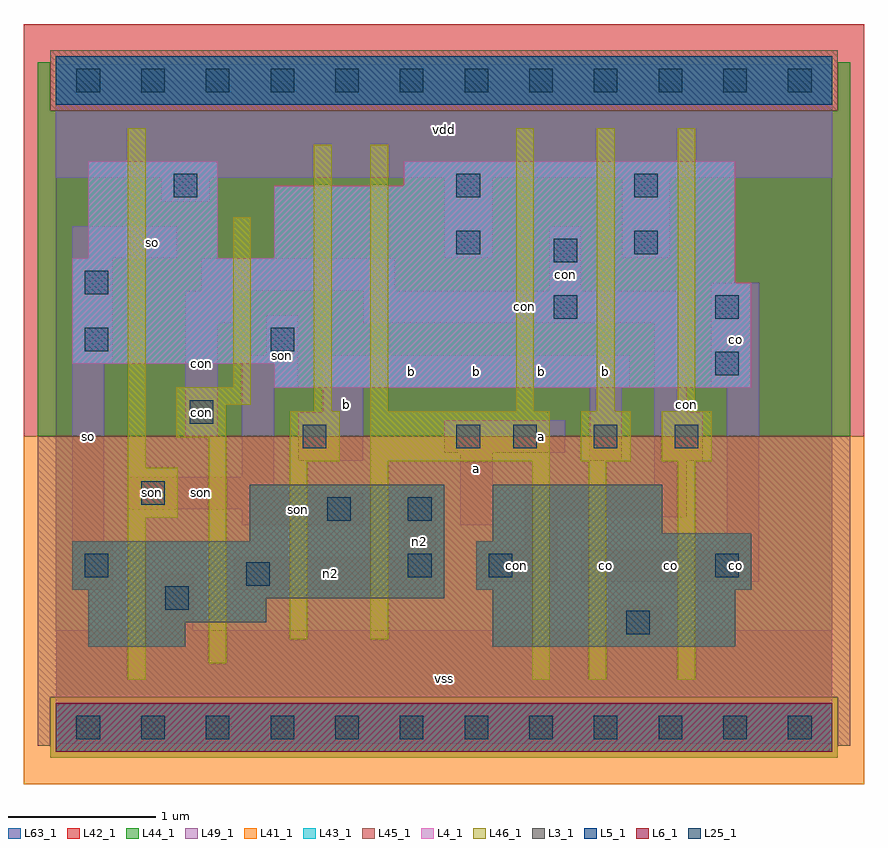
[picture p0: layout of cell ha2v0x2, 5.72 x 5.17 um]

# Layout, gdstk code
import gdstk
lib = gdstk.Library(unit=1e-6, precision=1e-09)
def R(c, l, rs):  # rectangles x0, y0, x1, y1
    for r in rs: c.add(gdstk.rectangle(r[:2], r[2:], *l))
def A(c, l, x, y, w, h, nx, ny, dx, dy):  # array of equal rectangles
    R(c, l, [(x+i*dx, y+j*dy, x+i*dx+w, y+j*dy+h) for i in range(nx) for j in range(ny)])
L3_1 = (3, 1)
L4_1 = (4, 1)
L5_1 = (5, 1)
L6_1 = (6, 1)
L25_1 = (25, 1)
L41_1 = (41, 1)
L42_1 = (42, 1)
L43_1 = (43, 1)
L44_1 = (44, 1)
L45_1 = (45, 1)
L46_1 = (46, 1)
L49_1 = (49, 1)
L63_1 = (63, 1)

ha2v0x2 = lib.new_cell('ha2v0x2')
R(ha2v0x2, L3_1, [(0.22,0.55,0.88,0.715), (2.97,0.55,4.62,0.935), (0.22,0.715,1.43,0.88), (0.22,0.88,2.64,0.935), (0.11,0.935,2.64,1.265), (2.86,0.935,4.73,1.265), (1.32,1.265,2.64,1.65), (2.97,1.265,4.73,1.32), (2.97,1.32,4.125,1.65)])
R(ha2v0x2, L4_1, [(1.485,2.31,4.73,2.475), (0.11,2.475,4.73,3.025), (0.11,3.025,4.62,3.19), (0.22,3.19,1.1,3.85), (1.485,3.19,4.62,3.685), (2.365,3.685,4.62,3.85)])
R(ha2v0x2, L5_1, [(0,4.235,5.28,4.565)])
R(ha2v0x2, L6_1, [(0,-0.165,5.28,0.165)])
A(ha2v0x2, L25_1, 0.14, -0.08, 0.16, 0.16, 12, 2, 0.44, 4.4)
A(ha2v0x2, L25_1, 3.11, 1.9, 0.16, 0.16, 3, 1, 0.55, 0)
R(ha2v0x2, L25_1, [(3.88,0.635,4.04,0.795), (0.745,0.8,0.905,0.96), (1.295,0.965,1.455,1.125), (0.195,1.02,0.355,1.18), (2.395,1.02,2.555,1.18), (2.945,1.02,3.105,1.18), (4.485,1.02,4.645,1.18), (1.845,1.405,2.005,1.565), (2.395,1.405,2.555,1.565), (0.58,1.515,0.74,1.675), (1.68,1.9,1.84,2.06), (2.725,1.9,2.885,2.06), (0.91,2.065,1.07,2.225), (4.485,2.395,4.645,2.555), (0.195,2.56,0.355,2.72), (1.46,2.56,1.62,2.72), (3.385,2.78,3.545,2.94), (4.485,2.78,4.645,2.94), (0.195,2.945,0.355,3.105), (3.385,3.165,3.545,3.325), (2.725,3.22,2.885,3.38), (3.935,3.22,4.095,3.38), (0.8,3.605,0.96,3.765), (2.725,3.605,2.885,3.765), (3.935,3.605,4.095,3.765)])
R(ha2v0x2, L41_1, [(-0.22,-0.385,5.5,1.98)])
R(ha2v0x2, L42_1, [(-0.22,1.98,5.5,4.785)])
R(ha2v0x2, L43_1, [(0,-0.165,5.28,0.165), (0.22,0.55,0.88,0.715), (2.97,0.55,4.62,0.935), (0.22,0.715,1.43,0.88), (0.22,0.88,2.64,0.935), (0.11,0.935,2.64,1.265), (2.86,0.935,4.73,1.265), (1.32,1.265,2.64,1.65), (2.97,1.265,4.73,1.32), (2.97,1.32,4.125,1.65), (1.485,2.31,4.73,2.475), (0.11,2.475,4.73,3.025), (0.11,3.025,4.62,3.19), (0.22,3.19,1.1,3.85), (1.485,3.19,4.62,3.685), (2.365,3.685,4.62,3.85), (0,4.235,5.28,4.565)])
R(ha2v0x2, L44_1, [(-0.04,-0.205,5.32,0.205), (-0.125,1.98,5.405,4.195), (-0.125,4.195,-0.04,4.525), (5.32,4.195,5.405,4.525)])
R(ha2v0x2, L45_1, [(-0.125,-0.125,-0.04,0.205), (5.32,-0.125,5.405,0.205), (-0.125,0.205,5.405,1.98), (-0.04,4.195,5.32,4.605)])
A(ha2v0x2, L46_1, 3.13, 2.15, 0.12, 1.925, 3, 1, 0.55, 0)
R(ha2v0x2, L46_1, [(0.49,0.325,0.61,1.425), (3.24,0.325,3.36,1.81), (3.625,0.325,3.745,1.81), (4.23,0.325,4.35,1.81), (1.04,0.435,1.16,1.975), (1.59,0.6,1.71,1.81), (2.14,0.6,2.26,1.81), (0.49,1.425,0.83,1.765), (0.49,1.765,0.61,4.075), (1.59,1.81,1.93,2.15), (2.14,1.81,3.36,2.15), (3.57,1.81,3.91,2.15), (4.12,1.81,4.46,2.15), (0.82,1.975,1.16,2.195), (1.755,2.15,1.875,3.965), (2.14,2.15,2.26,3.965), (0.82,2.195,1.325,2.315), (1.205,2.315,1.325,3.47)])
R(ha2v0x2, L49_1, [(0,-0.11,5.28,0.66), (0.715,0.66,0.935,1.045), (3.795,0.66,4.125,0.825), (0.11,0.935,0.385,1.265), (1.21,0.935,2.585,1.155), (2.86,0.99,3.41,1.21), (3.575,0.99,4.785,1.21), (2.365,1.155,2.585,1.65), (3.19,1.21,3.41,1.43), (4.565,1.21,4.785,2.31), (0.11,1.265,0.33,2.475), (1.265,1.375,2.09,1.485), (2.75,1.375,2.97,1.87), (3.19,1.43,4.29,1.65), (0.495,1.485,2.09,1.595), (0.495,1.595,1.485,1.705), (4.07,1.65,4.29,1.815), (1.265,1.705,1.485,2.31), (1.65,1.815,2.09,2.145), (3.63,1.815,3.85,2.31), (4.07,1.815,4.4,2.145), (2.64,1.87,3.465,2.09), (0.88,1.98,1.1,2.75), (1.815,2.145,2.09,2.31), (4.07,2.145,4.29,2.75), (1.265,2.31,1.65,2.53), (1.815,2.31,3.905,2.53), (4.455,2.31,4.785,3.025), (0.11,2.475,0.385,3.19), (1.43,2.53,1.65,2.805), (0.88,2.75,1.21,2.97), (2.09,2.75,4.29,2.97), (0.99,2.97,2.31,3.19), (3.355,2.97,3.575,3.41), (0.11,3.19,0.825,3.41), (2.64,3.19,2.97,3.74), (3.85,3.19,4.18,3.74), (0.715,3.575,1.045,3.74), (0,3.74,5.28,4.51)])
R(ha2v0x2, L63_1, [(0,0,5.28,4.4)])
ha2v0x2.add(gdstk.Label('son', (0.66,1.595), layer=49, texttype=1))
ha2v0x2.add(gdstk.Label('con', (0.99,2.145), layer=49, texttype=1))
ha2v0x2.add(gdstk.Label('con', (4.29,2.2), layer=46, texttype=1))
ha2v0x2.add(gdstk.Label('so', (0.22,1.98), layer=49, texttype=1))
ha2v0x2.add(gdstk.Label('so', (0.66,3.3), layer=49, texttype=1))
ha2v0x2.add(gdstk.Label('son', (0.99,1.595), layer=49, texttype=1))
ha2v0x2.add(gdstk.Label('son', (1.54,2.53), layer=49, texttype=1))
ha2v0x2.add(gdstk.Label('con', (0.99,2.475), layer=49, texttype=1))
ha2v0x2.add(gdstk.Label('vss', (2.64,0.33), layer=49, texttype=1))
ha2v0x2.add(gdstk.Label('son', (1.65,1.485), layer=49, texttype=1))
ha2v0x2.add(gdstk.Label('n2', (1.87,1.045), layer=49, texttype=1))
ha2v0x2.add(gdstk.Label('n2', (2.475,1.265), layer=49, texttype=1))
ha2v0x2.add(gdstk.Label('a', (2.86,1.76), layer=49, texttype=1))
ha2v0x2.add(gdstk.Label('b', (1.98,2.2), layer=49, texttype=1))
ha2v0x2.add(gdstk.Label('b', (2.86,2.42), layer=49, texttype=1))
ha2v0x2.add(gdstk.Label('b', (2.42,2.42), layer=49, texttype=1))
ha2v0x2.add(gdstk.Label('vdd', (2.64,4.07), layer=49, texttype=1))
ha2v0x2.add(gdstk.Label('con', (3.135,1.1), layer=49, texttype=1))
ha2v0x2.add(gdstk.Label('co', (4.18,1.1), layer=49, texttype=1))
ha2v0x2.add(gdstk.Label('co', (3.74,1.1), layer=49, texttype=1))
ha2v0x2.add(gdstk.Label('a', (3.3,1.98), layer=49, texttype=1))
ha2v0x2.add(gdstk.Label('b', (3.3,2.42), layer=49, texttype=1))
ha2v0x2.add(gdstk.Label('b', (3.74,2.42), layer=49, texttype=1))
ha2v0x2.add(gdstk.Label('con', (3.465,3.08), layer=49, texttype=1))
ha2v0x2.add(gdstk.Label('con', (3.19,2.86), layer=49, texttype=1))
ha2v0x2.add(gdstk.Label('con', (4.18,2.2), layer=49, texttype=1))
ha2v0x2.add(gdstk.Label('co', (4.62,1.1), layer=49, texttype=1))
ha2v0x2.add(gdstk.Label('co', (4.62,2.64), layer=49, texttype=1))

lib.write_gds('ha2v0x2.gds')
